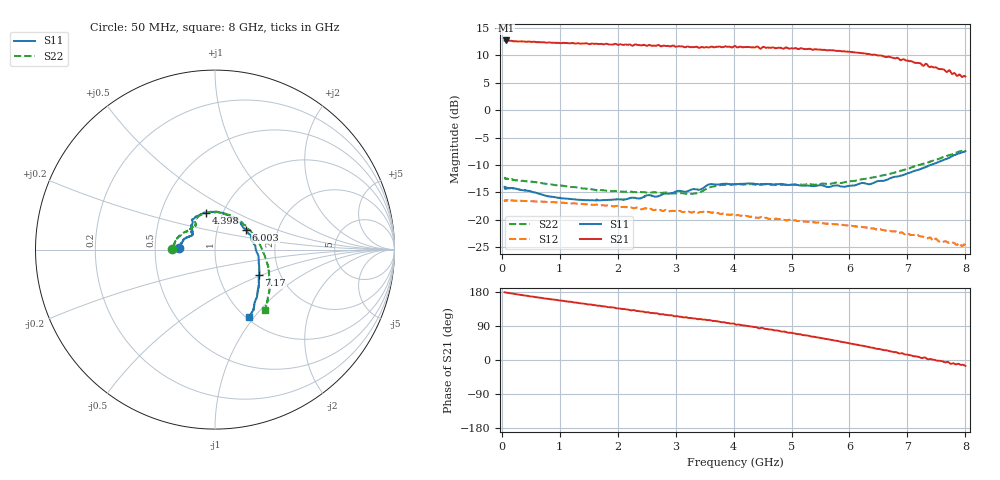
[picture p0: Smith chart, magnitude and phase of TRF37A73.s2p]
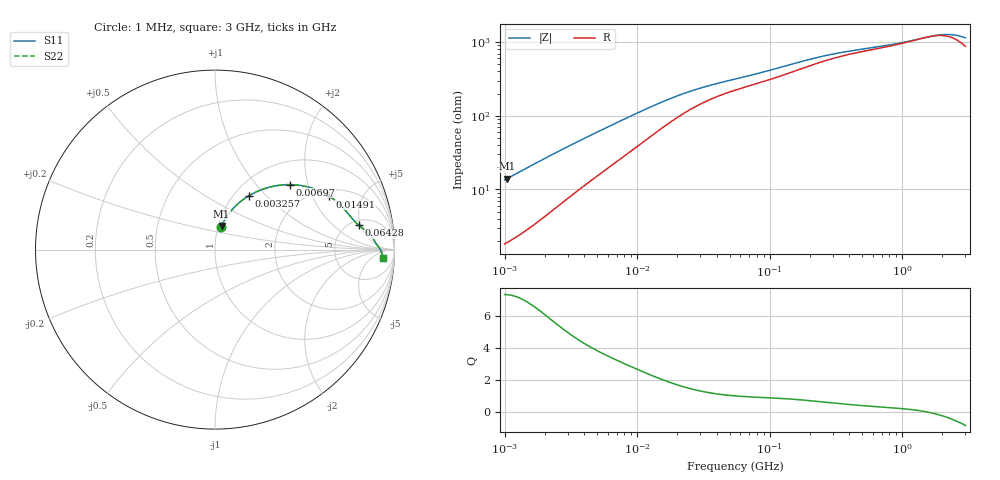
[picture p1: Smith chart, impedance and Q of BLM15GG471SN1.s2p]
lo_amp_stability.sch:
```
<Qucs Schematic 0.0.19>
<Properties>
  <View=-1100,-116,2460,1231,1,356,0>
  <Grid=10,10,1>
  <DataSet=lo_amp_stability.dat>
  <DataDisplay=lo_amp_stability.dpl>
  <OpenDisplay=1>
  <Script=lo_amp_stability.m>
  <RunScript=0>
  <showFrame=0>
  <FrameText0=Title>
  <FrameText1=Drawn By:>
  <FrameText2=Date:>
  <FrameText3=Revision:>
</Properties>
<Symbol>
</Symbol>
<Components>
  <.SP SP1 1 -740 740 0 67 0 0 "log" 1 "1MHz" 1 "7GHz" 1 "201" 1 "no" 0 "1" 0 "2" 0 "no" 0 "no" 0>
  <GND * 1 -510 670 0 0 0 0>
  <Pac P2 1 -310 640 18 -26 0 1 "2" 1 "50 Ohm" 1 "0 dBm" 0 "1 GHz" 0 "26.85" 0>
  <GND * 1 -310 670 0 0 0 0>
  <Pac P1 1 -800 640 18 -26 0 1 "1" 1 "50 Ohm" 1 "0 dBm" 0 "1 GHz" 0 "26.85" 0>
  <GND * 1 -800 670 0 0 0 0>
  <C C1 1 -650 560 -26 -55 0 2 "10 nF" 1 "" 0 "neutral" 0>
  <C C2 1 -380 560 -26 -55 0 2 "10 nF" 1 "" 0 "neutral" 0>
  <C C3 1 -270 390 -86 -26 0 3 "10 uF" 1 "" 0 "neutral" 0>
  <GND * 1 -270 420 0 0 0 0>
  <GND * 1 -390 390 0 0 0 0>
  <SPfile X1 1 -510 560 -26 -59 0 0 "/home/jtklein/repos/phasenoise/hardware/simulations/TRF37A73.s2p" 1 "rectangular" 0 "linear" 0 "open" 0 "2" 0>
  <SPfile X2 1 -390 360 -26 -59 0 0 "/home/jtklein/repos/phasenoise/hardware/simulations/BLM15GG471SN1.s2p" 1 "rectangular" 0 "linear" 0 "open" 0 "2" 0>
  <Eqn Eqn1 1 -520 750 -28 15 0 0 "dBS21=dB(S[2,1])" 1 "Mu=Mu(S)" 1 "Mu2=Mu2(S)" 1 "dBS11=dB(S[1,1])" 1 "dBS22=dB(S[2,2])" 1 "yes" 0>
</Components>
<Wires>
  <-510 590 -510 670 "" 0 0 0 "">
  <-310 560 -310 610 "" 0 0 0 "">
  <-480 560 -430 560 "" 0 0 0 "">
  <-800 560 -800 610 "" 0 0 0 "">
  <-800 560 -680 560 "" 0 0 0 "">
  <-620 560 -540 560 "" 0 0 0 "">
  <-430 560 -410 560 "" 0 0 0 "">
  <-350 560 -310 560 "" 0 0 0 "">
  <-430 360 -420 360 "" 0 0 0 "">
  <-430 360 -430 560 "" 0 0 0 "">
  <-360 360 -270 360 "" 0 0 0 "">
</Wires>
<Diagrams>
</Diagrams>
<Paintings>
</Paintings>
```
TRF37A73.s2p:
! Network Analyzer HP8720D.06.14 Serial No. US36140363
! Hewlett-Packard
! 27 May 2014  20:34:46
! Frequency  S11  S21  S12  S22
# HZ  S  DB R 50
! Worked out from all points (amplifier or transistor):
!   1601 points, 50 MHz to 8 GHz, reference 50 ohm
!   highest |S21| = 12.7 dB at 69.88 MHz (marker M1)
!   |S21| within 3 dB of that: start of sweep to 6.62 GHz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
!   unconditionally stable (mu >= 1): start of sweep to end of sweep
!   at 1.372 GHz: K = 1.14, MAG = 12.3 dB, |S12| = -17.1 dB
!   at 4.025 GHz: K = 1.33, MAG = 12.0 dB, |S12| = -19.3 dB
!   at 8 GHz: K = 2.85, MAG = 8.0 dB, |S12| = -24.7 dB
!   S11 on the Smith chart (normalised r, x): 50 MHz: 0.67, +0.01; 4.398 GHz: 0.84, +0.36; 6.003 GHz: 1.37, +0.31; 7.17 GHz: 1.56, -0.48; 8 GHz: 1.03, -0.95
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5e7  -14.01 178.0  12.68 178.8  -16.38 0.1  -12.48 179.1
6.9875e7  -14.29 176.2  12.73 177.9  -16.42 -0.6  -12.56 177.3
1.977875e9  -16.32 146.1  12.06 136.3  -17.47 -11.0  -14.80 142.6
2.961688e9  -15.08 136.6  11.79 116.4  -18.36 -12.4  -15.20 130.9
4.025e9  -13.51 113.9  11.72 94.4  -19.26 -15.1  -13.54 106.5
4.397656e9  -13.51 103.2  11.59 86.2  -19.62 -15.5  -13.64 92.3
5.172781e9  -13.77 74.2  11.30 66.7  -20.31 -15.8  -13.60 61.5
6.002562e9  -13.81 32.6  10.66 43.9  -21.09 -16.1  -12.97 27.3
6.559062e9  -12.89 2.9  9.97 27.3  -21.85 -17.0  -11.94 5.6
7.170219e9  -10.95 -30.2  8.63 9.0  -22.77 -17.2  -10.10 -18.7
8e9  -7.48 -63.2  6.14 -15.6  -24.69 -13.6  -7.21 -50.2
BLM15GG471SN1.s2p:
! BLM15GG471SN1
# Hz S RI R 50
!Freq.(Hz) S11(Real) S11(Imag) S21(Real) S21(Imag) S12(Real) S12(Imag) S22(Real) S22(Imag)
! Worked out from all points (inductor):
!   401 points, 1 MHz to 3 GHz, reference 50 ohm
!   read as one part in series: L = 2.11 uH near 1.041 MHz
!   highest Q = 7.31 at 1.041 MHz (marker M1), where L = 2.12 uH
!   self-resonance near 1.551 GHz
!   S11 on the Smith chart (normalised r, x): 1 MHz: 1.04, +0.27; 3.257 MHz: 1.17, +0.81; 6.97 MHz: 1.47, +1.53; 14.91 MHz: 2.31, +2.70; 64.28 MHz: 5.86, +4.68; 3 GHz: 19, -15
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1000000  0.0345 0.1266  0.9655 -0.1266  0.9655 -0.1266  0.0345 0.1266
1040844  0.0365 0.1313  0.9635 -0.1313  0.9635 -0.1313  0.0365 0.1313
1897447  0.0895 0.2162  0.9105 -0.2162  0.9105 -0.2162  0.0895 0.2162
3257432  0.1901 0.3008  0.8099 -0.3008  0.8099 -0.3008  0.1901 0.3008
6969505  0.4154 0.362  0.5846 -0.362  0.5846 -0.362  0.4154 0.362
1.491174e7  0.6375 0.2964  0.3625 -0.2964  0.3625 -0.2964  0.6375 0.2964
5.477226e7  0.7902 0.1452  0.2098 -0.1452  0.2098 -0.1452  0.7902 0.1452
6.428402e7  0.8012 0.1357  0.1988 -0.1357  0.1988 -0.1357  0.8012 0.1357
2.716345e8  0.8813 0.0604  0.1187 -0.0604  0.1187 -0.0604  0.8813 0.0604
1.747494e9  0.9245 -0.00657  0.0755 0.00657  0.0755 0.00657  0.9245 -0.00657
3e9  0.9345 -0.0491  0.0655 0.0491  0.0655 0.0491  0.9345 -0.0491
